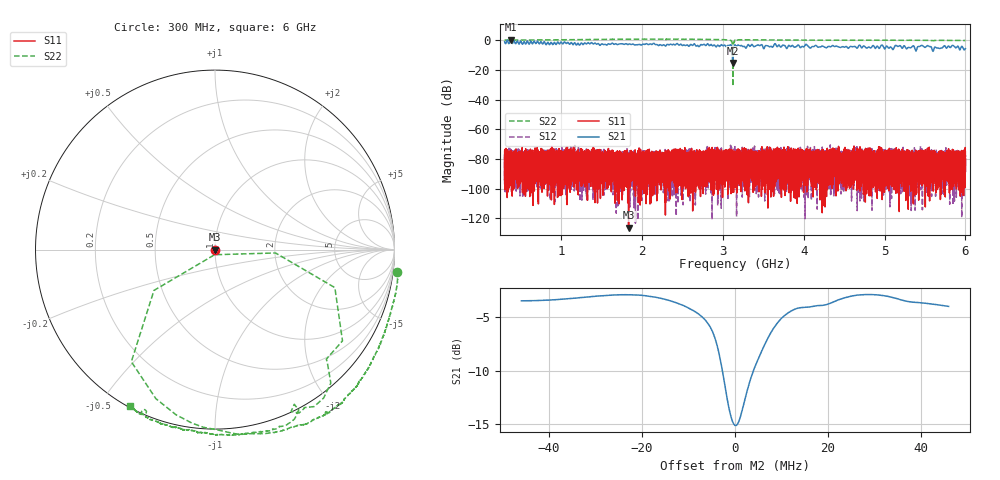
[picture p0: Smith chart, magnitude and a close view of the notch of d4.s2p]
!Agilent Technologies,N5230C,SG49000117,A.08.50.07
!Agilent N5230C: A.08.50.07
!Date: Sunday, March 17, 2024 09:04:29
!Correction: S11(Off)
!S21(Off)
!S12(Off)
!S22(Full 1 Port(2))
!S2P File: Measurements: S11, S21, S12, S22:
# Hz S  RI  R 50
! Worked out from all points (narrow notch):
!   20001 points, 300 MHz to 6 GHz, reference 50 ohm
!   highest |S21| = 0.47 dB at 374.4 MHz (marker M1); lowest = -15.1 dB at 3.121 GHz (marker M2)
!   notch at M2: 11.8 dB deep, 7.68 MHz wide at half that depth
!   lowest |S11| = -126.3 dB at 1.834 GHz (marker M3), VSWR 1.00, Z = 50 - j1.55e-05 ohm
!   |S11| at or under -10 dB: start of sweep to end of sweep
!   |S22| runs from -30.9 to 0.9 dB; largest |S21 - S12| = 1.1
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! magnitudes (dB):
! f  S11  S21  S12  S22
! 300 MHz  -78.7  -0.9  -97.2  0.2
! 374.4 MHz  -79.8  0.5  -81.4  0.3
! 1.25 GHz  -84.2  -1.7  -93.2  0.6
! 1.834 GHz  -126.3  -2.6  -77.8  0.8
! 2.2 GHz  -83.9  -3.5  -78.8  0.9
! 3.054 GHz  -83.2  -3.6  -76.4  0.4
! 3.088 GHz  -89.2  -3.2  -83.0  0.1
! 3.1 GHz  -91.9  -2.9  -84.0  -0.1
! 3.121 GHz  -78.9  -15.1  -82.6  -11.9
! 3.15 GHz  -85.4  -2.9  -85.1  0.2
! 3.16 GHz  -77.6  -3.6  -94.3  0.1
! 3.212 GHz  -85.7  -3.7  -76.3  0.5
! 3.977 GHz  -80.9  -4.1  -79.3  0.2
! 4.035 GHz  -82.7  -2.9  -76.3  0.2
! 4.1 GHz  -76.4  -4.3  -91.4  0.2
! 5.05 GHz  -81.8  -5.2  -84.7  0.1
! 5.163 GHz  -89.0  -4.1  -76.4  0.1
! 5.396 GHz  -103.1  -6.3  -78.9  0.1
! 5.457 GHz  -82.5  -3.4  -81.1  0.1
! 5.611 GHz  -82.3  -5.6  -81.3  -0.1
! 5.846 GHz  -77.4  -3.4  -80.5  0.0
! 6 GHz  -80.5  -5.5  -78.3  0.0
